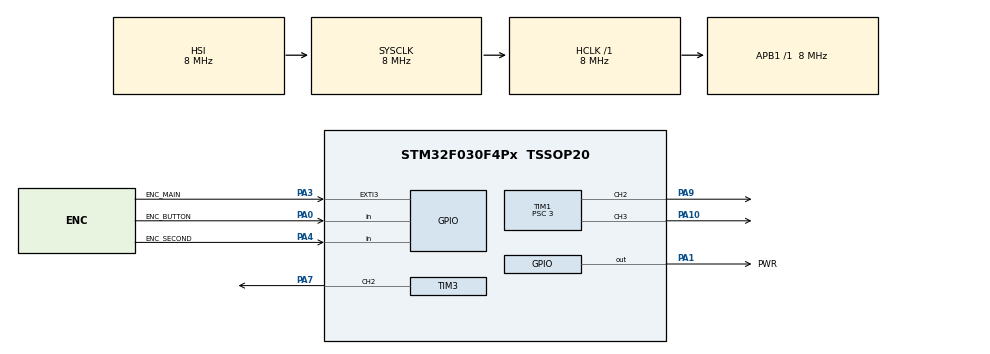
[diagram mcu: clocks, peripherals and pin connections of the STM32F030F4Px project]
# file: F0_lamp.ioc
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Mcu.Family=STM32F0
Mcu.Name=STM32F030F4Px
Mcu.Package=TSSOP20
NVIC.EXTI2_3_IRQn=true\:1\:0\:true\:false\:false\:true\:true
PA0.GPIO_Label=ENC_BUTTON
PA0.GPIO_PuPd=GPIO_PULLUP
PA0.Signal=GPIO_Input
PA1.GPIO_Label=PWR
PA1.PinState=GPIO_PIN_RESET
PA1.Signal=GPIO_Output
PA10.Signal=S_TIM1_CH3
PA13.Mode=Serial_Wire
PA13.Signal=SYS_SWDIO
PA14.Mode=Serial_Wire
PA14.Signal=SYS_SWCLK
PA3.GPIO_Label=ENC_MAIN
PA3.GPIO_ModeDefaultEXTI=GPIO_MODE_IT_RISING_FALLING
PA3.GPIO_PuPd=GPIO_PULLUP
PA3.Signal=GPXTI3
PA4.GPIO_Label=ENC_SECOND
PA4.GPIO_PuPd=GPIO_PULLUP
PA4.Signal=GPIO_Input
PA7.Signal=S_TIM3_CH2
PA9.Signal=S_TIM1_CH2
ProjectManager.HeapSize=0x200
ProjectManager.StackSize=0x400
ProjectManager.TargetToolchain=SW4STM32
RCC.AHBFreq_Value=8000000
RCC.APB1Freq_Value=8000000
RCC.APB1TimFreq_Value=8000000
RCC.HCLKFreq_Value=8000000
RCC.PLLMUL=RCC_PLL_MUL4
RCC.SYSCLKFreq_VALUE=8000000
SH.S_TIM1_CH2.0=TIM1_CH2,PWM Generation2 CH2
SH.S_TIM1_CH3.0=TIM1_CH3,PWM Generation3 CH3
SH.S_TIM3_CH2.0=TIM3_CH2,PWM Generation2 CH2
TIM1.Channel-PWM\ Generation2\ CH2=TIM_CHANNEL_2
TIM1.Channel-PWM\ Generation3\ CH3=TIM_CHANNEL_3
TIM1.OCPolarity_2=TIM_OCPOLARITY_HIGH
TIM1.Period=63
TIM1.Prescaler=3
TIM1.Pulse-PWM\ Generation3\ CH3=0
TIM3.Channel-PWM\ Generation2\ CH2=TIM_CHANNEL_2
TIM3.Period=63
TIM3.Prescaler=3
VP_TIM1_VS_ClockSourceINT.Mode=Internal
VP_TIM3_VS_ClockSourceINT.Mode=Internal
board=lamp_F0

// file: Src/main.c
/* USER CODE BEGIN Header */
/**
  ******************************************************************************
  * @file           : main.c
  * @brief          : Main program body
  ******************************************************************************
  * @attention
  *
  * <h2><center>&copy; Copyright (c) 2020 STMicroelectronics.
  * All rights reserved.</center></h2>
  *
  * This software component is licensed by ST under BSD 3-Clause license,
  * the "License"; You may not use this file except in compliance with the
  * License. You may obtain a copy of the License at:
  *                        opensource.org/licenses/BSD-3-Clause
  *
  ******************************************************************************
  */
/* USER CODE END Header */

#include "main.h"

/* USER CODE BEGIN Includes */
 #include "encoder.h"

/* USER CODE END Includes */

TIM_HandleTypeDef htim1;
TIM_HandleTypeDef htim3;

/* USER CODE BEGIN PV */
/* Private variables ---------------------------------------------------------*/
volatile bool init_complete = false;
RENC	renc;

/* USER CODE END PV */

void SystemClock_Config(void);
static void MX_GPIO_Init(void);
static void MX_TIM3_Init(void);
static void MX_TIM1_Init(void);
/* USER CODE BEGIN PFP */
/* Private function prototypes -----------------------------------------------*/

/* USER CODE END PFP */

/* USER CODE BEGIN 0 */

// Encoder Rotated
void EXTI2_3_IRQHandler(void) {
	if (!init_complete) {
		HAL_GPIO_EXTI_IRQHandler(ENC_MAIN_Pin);
		return;
	}
	RENC_encoderIntr(&renc);
	__HAL_GPIO_EXTI_CLEAR_IT(ENC_MAIN_Pin);
}

void showLed(uint16_t bright) {
	if (bright < 64) {
		TIM3->CCR2 = bright & 0x3F;						// The first led only
		TIM1->CCR2 = 0;
		TIM1->CCR3 = 0;
	} else if (bright < 128) {
		bright -= 64;
		TIM3->CCR2 = 0x3F;								// Full power on the first led
		TIM1->CCR2 = bright & 0x3F;						// Turn on the second led
		TIM1->CCR3 = 0;
	} else {
		bright -= 128;
		TIM3->CCR2 = 0x3F;								// Full power on the first led
		TIM1->CCR2 = 0x3F;								// Full power on the second led
		TIM1->CCR3 = bright & 0x3F;						// Turn on the third led
	}

}

void showFullLed(uint16_t bright) {						// bright = [0..2]
	switch (bright) {
		case 0:
			TIM3->CCR2 = 0x3F;							// The first led only
			TIM1->CCR2 = 0;
			TIM1->CCR3 = 0;
			break;
		case 1:
			TIM3->CCR2 = 0x3F;							// Full power on the first led
			TIM1->CCR2 = 0x3F;							// Turn on the second led
			TIM1->CCR3 = 0;
			break;
		case 2:
			TIM3->CCR2 = 0x3F;							// Full power on the first led
			TIM1->CCR2 = 0x3F;							// Full power on the second led
			TIM1->CCR3 = 0x3F;							// Turn on the third led
			break;
		default:
			TIM3->CCR2 = 0;								// The the light off
			TIM1->CCR2 = 0;
			TIM1->CCR3 = 0;
			break;
	}
}

/* USER CODE END 0 */

int main(void)
{
  /* USER CODE BEGIN 1 */
	static uint16_t old_bright = 63;
	static bool smooth = true;

  /* USER CODE END 1 */

  /* MCU Configuration--------------------------------------------------------*/

  /* Reset of all peripherals, Initializes the Flash interface and the Systick. */
  HAL_Init();

  /* Configure the system clock */
  SystemClock_Config();

  /* Initialize all configured peripherals */
  MX_GPIO_Init();
  MX_TIM3_Init();
  MX_TIM1_Init();
  /* USER CODE BEGIN 2 */
  HAL_Delay(1000);
  HAL_GPIO_WritePin(PWR_GPIO_Port, PWR_Pin, GPIO_PIN_SET);

  HAL_TIM_PWM_Start(&htim1, TIM_CHANNEL_2);
  HAL_TIM_PWM_Start(&htim1, TIM_CHANNEL_3);
  HAL_TIM_PWM_Start(&htim3, TIM_CHANNEL_2);

  RENC_createButton(&renc, ENC_BUTTON_GPIO_Port, ENC_BUTTON_Pin);
  RENC_createEncoder(&renc, ENC_MAIN_GPIO_Port, ENC_MAIN_Pin, ENC_SECOND_GPIO_Port, ENC_SECOND_Pin);
  RENC_resetEncoder(&renc, old_bright, 1, 191, 1, 5, false);
  showLed(old_bright);
  init_complete = true;
  /* USER CODE END 2 */

  /* Infinite loop */
  while (1)
  {

    /* USER CODE BEGIN 3 */
	  uint16_t bright = RENC_read(&renc);
	  if (bright != old_bright) {
		  old_bright = bright;
		  if (smooth) {
			  showLed(bright);
		  } else {
			  showFullLed(bright);
		  }
	  }

	  uint8_t b_status = RENC_buttonStatus(&renc);
	  switch (b_status) {
	  	  case 1:										// Short press
	  		  smooth = !smooth;
	  		  if (smooth) {
	  			  old_bright = bright * 64 + 32;
	  			  RENC_resetEncoder(&renc, old_bright, 0, 191, 1, 5, false);
	  			  showLed(old_bright);
	  		  } else {
	  			  old_bright = bright / 64;
	  			  RENC_resetEncoder(&renc, old_bright, 0, 2, 1, 1, false);
	  			  showFullLed(old_bright);
	  		  }
	  		  break;
	  	  case 2:										// Long press, switch off the power
	  		  showLed(0);
	  		  HAL_Delay(5000);							// Wait to release the encoder
	  		  HAL_GPIO_WritePin(PWR_GPIO_Port, PWR_Pin, GPIO_PIN_RESET);
	  		  break;
	  	  default:										// Not pressed
	  		  break;
	  }

	  HAL_Delay(100);

  }
  /* USER CODE END 3 */
}

void SystemClock_Config(void)
{
  RCC_OscInitTypeDef RCC_OscInitStruct = {0};
  RCC_ClkInitTypeDef RCC_ClkInitStruct = {0};

  /** Initializes the CPU, AHB and APB busses clocks
  */
  RCC_OscInitStruct.OscillatorType = RCC_OSCILLATORTYPE_HSI;
  RCC_OscInitStruct.HSIState = RCC_HSI_ON;
  RCC_OscInitStruct.HSICalibrationValue = RCC_HSICALIBRATION_DEFAULT;
  RCC_OscInitStruct.PLL.PLLState = RCC_PLL_NONE;
  if (HAL_RCC_OscConfig(&RCC_OscInitStruct) != HAL_OK)
  {
    Error_Handler();
  }
  /** Initializes the CPU, AHB and APB busses clocks
  */
  RCC_ClkInitStruct.ClockType = RCC_CLOCKTYPE_HCLK|RCC_CLOCKTYPE_SYSCLK
                              |RCC_CLOCKTYPE_PCLK1;
  RCC_ClkInitStruct.SYSCLKSource = RCC_SYSCLKSOURCE_HSI;
  RCC_ClkInitStruct.AHBCLKDivider = RCC_SYSCLK_DIV1;
  RCC_ClkInitStruct.APB1CLKDivider = RCC_HCLK_DIV1;

  if (HAL_RCC_ClockConfig(&RCC_ClkInitStruct, FLASH_LATENCY_0) != HAL_OK)
  {
    Error_Handler();
  }
}

static void MX_TIM1_Init(void)
{

  TIM_ClockConfigTypeDef sClockSourceConfig = {0};
  TIM_MasterConfigTypeDef sMasterConfig = {0};
  TIM_OC_InitTypeDef sConfigOC = {0};
  TIM_BreakDeadTimeConfigTypeDef sBreakDeadTimeConfig = {0};

  htim1.Instance = TIM1;
  htim1.Init.Prescaler = 3;
  htim1.Init.CounterMode = TIM_COUNTERMODE_UP;
  htim1.Init.Period = 63;
  htim1.Init.ClockDivision = TIM_CLOCKDIVISION_DIV1;
  htim1.Init.RepetitionCounter = 0;
  htim1.Init.AutoReloadPreload = TIM_AUTORELOAD_PRELOAD_DISABLE;
  if (HAL_TIM_Base_Init(&htim1) != HAL_OK)
  {
    Error_Handler();
  }
  sClockSourceConfig.ClockSource = TIM_CLOCKSOURCE_INTERNAL;
  if (HAL_TIM_ConfigClockSource(&htim1, &sClockSourceConfig) != HAL_OK)
  {
    Error_Handler();
  }
  if (HAL_TIM_PWM_Init(&htim1) != HAL_OK)
  {
    Error_Handler();
  }
  sMasterConfig.MasterOutputTrigger = TIM_TRGO_RESET;
  sMasterConfig.MasterSlaveMode = TIM_MASTERSLAVEMODE_DISABLE;
  if (HAL_TIMEx_MasterConfigSynchronization(&htim1, &sMasterConfig) != HAL_OK)
  {
    Error_Handler();
  }
  sConfigOC.OCMode = TIM_OCMODE_PWM1;
  sConfigOC.Pulse = 0;
  sConfigOC.OCPolarity = TIM_OCPOLARITY_HIGH;
  sConfigOC.OCNPolarity = TIM_OCNPOLARITY_HIGH;
  sConfigOC.OCFastMode = TIM_OCFAST_DISABLE;
  sConfigOC.OCIdleState = TIM_OCIDLESTATE_RESET;
  sConfigOC.OCNIdleState = TIM_OCNIDLESTATE_RESET;
  if (HAL_TIM_PWM_ConfigChannel(&htim1, &sConfigOC, TIM_CHANNEL_2) != HAL_OK)
  {
    Error_Handler();
  }
  if (HAL_TIM_PWM_ConfigChannel(&htim1, &sConfigOC, TIM_CHANNEL_3) != HAL_OK)
  {
    Error_Handler();
  }
  sBreakDeadTimeConfig.OffStateRunMode = TIM_OSSR_DISABLE;
  sBreakDeadTimeConfig.OffStateIDLEMode = TIM_OSSI_DISABLE;
  sBreakDeadTimeConfig.LockLevel = TIM_LOCKLEVEL_OFF;
  sBreakDeadTimeConfig.DeadTime = 0;
  sBreakDeadTimeConfig.BreakState = TIM_BREAK_DISABLE;
  sBreakDeadTimeConfig.BreakPolarity = TIM_BREAKPOLARITY_HIGH;
  sBreakDeadTimeConfig.AutomaticOutput = TIM_AUTOMATICOUTPUT_DISABLE;
  if (HAL_TIMEx_ConfigBreakDeadTime(&htim1, &sBreakDeadTimeConfig) != HAL_OK)
  {
    Error_Handler();
  }
  HAL_TIM_MspPostInit(&htim1);

}

static void MX_TIM3_Init(void)
{

  TIM_ClockConfigTypeDef sClockSourceConfig = {0};
  TIM_MasterConfigTypeDef sMasterConfig = {0};
  TIM_OC_InitTypeDef sConfigOC = {0};

  htim3.Instance = TIM3;
  htim3.Init.Prescaler = 3;
  htim3.Init.CounterMode = TIM_COUNTERMODE_UP;
  htim3.Init.Period = 63;
  htim3.Init.ClockDivision = TIM_CLOCKDIVISION_DIV1;
  htim3.Init.AutoReloadPreload = TIM_AUTORELOAD_PRELOAD_DISABLE;
  if (HAL_TIM_Base_Init(&htim3) != HAL_OK)
  {
    Error_Handler();
  }
  sClockSourceConfig.ClockSource = TIM_CLOCKSOURCE_INTERNAL;
  if (HAL_TIM_ConfigClockSource(&htim3, &sClockSourceConfig) != HAL_OK)
  {
    Error_Handler();
  }
  if (HAL_TIM_PWM_Init(&htim3) != HAL_OK)
  {
    Error_Handler();
  }
  sMasterConfig.MasterOutputTrigger = TIM_TRGO_RESET;
  sMasterConfig.MasterSlaveMode = TIM_MASTERSLAVEMODE_DISABLE;
  if (HAL_TIMEx_MasterConfigSynchronization(&htim3, &sMasterConfig) != HAL_OK)
  {
    Error_Handler();
  }
  sConfigOC.OCMode = TIM_OCMODE_PWM1;
  sConfigOC.Pulse = 0;
  sConfigOC.OCPolarity = TIM_OCPOLARITY_HIGH;
  sConfigOC.OCFastMode = TIM_OCFAST_DISABLE;
  if (HAL_TIM_PWM_ConfigChannel(&htim3, &sConfigOC, TIM_CHANNEL_2) != HAL_OK)
  {
    Error_Handler();
  }
  HAL_TIM_MspPostInit(&htim3);

}

static void MX_GPIO_Init(void)
{
  GPIO_InitTypeDef GPIO_InitStruct = {0};

  /* GPIO Ports Clock Enable */
  __HAL_RCC_GPIOA_CLK_ENABLE();

  /*Configure GPIO pin Output Level */
  HAL_GPIO_WritePin(PWR_GPIO_Port, PWR_Pin, GPIO_PIN_RESET);

  /*Configure GPIO pins : ENC_BUTTON_Pin ENC_SECOND_Pin */
  GPIO_InitStruct.Pin = ENC_BUTTON_Pin|ENC_SECOND_Pin;
  GPIO_InitStruct.Mode = GPIO_MODE_INPUT;
  GPIO_InitStruct.Pull = GPIO_PULLUP;
  HAL_GPIO_Init(GPIOA, &GPIO_InitStruct);

  /*Configure GPIO pin : PWR_Pin */
  GPIO_InitStruct.Pin = PWR_Pin;
  GPIO_InitStruct.Mode = GPIO_MODE_OUTPUT_PP;
  GPIO_InitStruct.Pull = GPIO_NOPULL;
  GPIO_InitStruct.Speed = GPIO_SPEED_FREQ_LOW;
  HAL_GPIO_Init(PWR_GPIO_Port, &GPIO_InitStruct);

  /*Configure GPIO pin : ENC_MAIN_Pin */
  GPIO_InitStruct.Pin = ENC_MAIN_Pin;
  GPIO_InitStruct.Mode = GPIO_MODE_IT_RISING_FALLING;
  GPIO_InitStruct.Pull = GPIO_PULLUP;
  HAL_GPIO_Init(ENC_MAIN_GPIO_Port, &GPIO_InitStruct);

  /* EXTI interrupt init*/
  HAL_NVIC_SetPriority(EXTI2_3_IRQn, 1, 0);
  HAL_NVIC_EnableIRQ(EXTI2_3_IRQn);

}

void Error_Handler(void)
{
  while(1)
  {
  }
}

/************************ (C) COPYRIGHT STMicroelectronics *****END OF FILE****/
